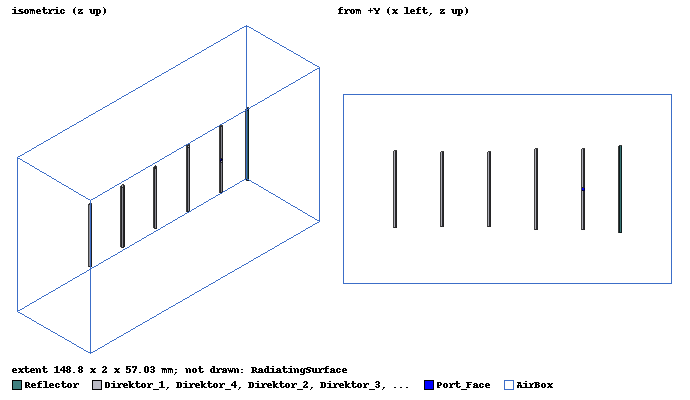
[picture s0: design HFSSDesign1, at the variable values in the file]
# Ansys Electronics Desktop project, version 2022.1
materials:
  vacuum: permittivity=1
  aluminum: permeability=1.000021 conductivity=38000000

design HFSSDesign1 (HFSS, DrivenModal, model units mm)
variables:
  d = 2mm
  g = 2mm
  Lr = 57.026mm
  Ld = 53.147mm
  L1 = 52.616mm
  L2 = 48.796mm
  L3 = 48.796mm
  L4 = 50.163mm
  sr = 24.473mm
  s1 = 30.591mm
  s2 = 30.591mm
  s3 = 30.591mm
  s4 = 30.591mm
  x1 = s1
  x2 = x1+s2
  x3 = x2+s3
  x4 = x3+s4
  pad = 33.251mm
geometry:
  Reflector [aluminum] = cylinder(axis=Z, base_centre=(-sr, 0mm, -Lr/2), radius=d/2, height=Lr)
  Driven_Top [aluminum] = cylinder(axis=Z, base_centre=(0mm, 0mm, g/2), radius=d/2, height=Ld/2-g/2)
  Driven_Bot [aluminum] = cylinder(axis=Z, base_centre=(0mm, 0mm, -Ld/2), radius=d/2, height=Ld/2-g/2)
  Direktor_1 [aluminum] = cylinder(axis=Z, base_centre=(x1, 0mm, -L1/2), radius=d/2, height=L1)
  Direktor_2 [aluminum] = cylinder(axis=Z, base_centre=(x2, 0mm, -L2/2), radius=d/2, height=L2)
  Direktor_3 [aluminum] = cylinder(axis=Z, base_centre=(x3, 0mm, -L3/2), radius=d/2, height=L3)
  Direktor_4 [aluminum] = cylinder(axis=Z, base_centre=(x4, 0mm, -L4/2), radius=d/2, height=L4)
  Port_Face = rectangle(corner=(-d/2, 0mm, -g/2), z_size=g, x_size=d)
  AirBox [vacuum] = box(corner=(-sr-pad, -d/2-pad, -Lr/2-pad), size=(sr+x4+2*pad, d+2*pad, Lr+2*pad))
  RadiatingSurface [vacuum] = region(absolute_offset=40.816327mm on all sides)
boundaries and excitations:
  Open1: Radiation Objects=RadiatingSurface
  1: Lumped Port Objects=Port_Face Modes{Mode1{IntLine{(0, 0, -1) -> (0, 0, 1)} CharImp=Zpi RenormImp=50ohm}} Impedance=50ohm
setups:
  Setup1: HfssDriven Frequency=2.45GHz MaxDeltaS=0.02 MaximumPasses=6 MinimumPasses=1 MinimumConvergedPasses=1 PercentRefinement=30 BasisOrder=1 PortAccuracy=2 DrivenSolverType="Direct Solver"
    sweep Sweep: 1.225GHz to 3.675GHz, 401 points; Type=Interpolating InterpTolerance=0.5 InterpMaxSolns=250 InterpUsePortImped=false PassivityErrorTolerance=0.0001
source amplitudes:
  1:1: 1W 0deg
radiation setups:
  3D: Infinite Sphere Theta=0deg..180deg step 2deg Phi=-180deg..180deg step 2deg
  Elevation: Infinite Sphere Theta=-180deg..180deg step 1deg Phi=0deg..90deg step 90deg
  Azimuth: Infinite Sphere Theta=90deg..90deg step 0deg Phi=-180deg..180deg step 1deg
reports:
  S Parameter Plot 1: dB(S(1,1)) vs Freq on Setup1 : Sweep [Lr=all Ld=all L1=all]
